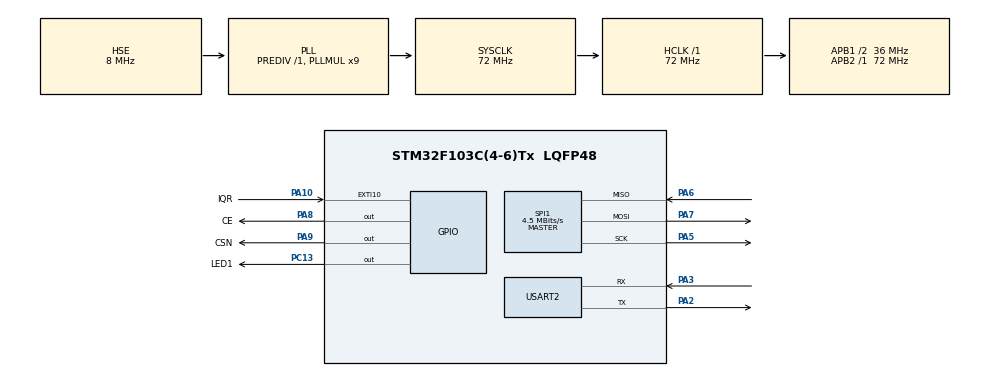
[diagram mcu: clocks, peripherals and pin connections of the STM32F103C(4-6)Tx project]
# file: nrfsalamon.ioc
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Mcu.Family=STM32F1
Mcu.Name=STM32F103C(4-6)Tx
Mcu.Package=LQFP48
NVIC.EXTI15_10_IRQn=true\:0\:0\:false\:true\:true\:1\:true\:true\:true
NVIC.PriorityGroup=NVIC_PRIORITYGROUP_4
PA10.GPIO_Label=IQR
PA10.Signal=GPXTI10
PA2.Mode=Asynchronous
PA2.Signal=USART2_TX
PA3.Mode=Asynchronous
PA3.Signal=USART2_RX
PA5.Mode=Full_Duplex_Master
PA5.Signal=SPI1_SCK
PA6.Mode=Full_Duplex_Master
PA6.Signal=SPI1_MISO
PA7.Mode=Full_Duplex_Master
PA7.Signal=SPI1_MOSI
PA8.GPIO_Label=CE
PA8.Signal=GPIO_Output
PA9.GPIO_Label=CSN
PA9.Signal=GPIO_Output
PC13-TAMPER-RTC.GPIO_Label=LED1
PC13-TAMPER-RTC.Signal=GPIO_Output
PC14-OSC32_IN.Mode=LSE-External-Oscillator
PC14-OSC32_IN.Signal=RCC_OSC32_IN
PC15-OSC32_OUT.Mode=LSE-External-Oscillator
PC15-OSC32_OUT.Signal=RCC_OSC32_OUT
PD0-OSC_IN.Mode=HSE-External-Oscillator
PD0-OSC_IN.Signal=RCC_OSC_IN
PD1-OSC_OUT.Mode=HSE-External-Oscillator
PD1-OSC_OUT.Signal=RCC_OSC_OUT
ProjectManager.HeapSize=0x200
ProjectManager.StackSize=0x400
ProjectManager.TargetToolchain=STM32CubeIDE
RCC.AHBFreq_Value=72000000
RCC.APB1CLKDivider=RCC_HCLK_DIV2
RCC.APB1Freq_Value=36000000
RCC.APB1TimFreq_Value=72000000
RCC.APB2Freq_Value=72000000
RCC.APB2TimFreq_Value=72000000
RCC.HCLKFreq_Value=72000000
RCC.PLLMUL=RCC_PLL_MUL9
RCC.PLLSourceVirtual=RCC_PLLSOURCE_HSE
RCC.SYSCLKFreq_VALUE=72000000
RCC.SYSCLKSource=RCC_SYSCLKSOURCE_PLLCLK
RCC.USBFreq_Value=72000000
SPI1.BaudRatePrescaler=SPI_BAUDRATEPRESCALER_16
SPI1.CalculateBaudRate=4.5 MBits/s
SPI1.Direction=SPI_DIRECTION_2LINES
SPI1.Mode=SPI_MODE_MASTER
SPI1.VirtualType=VM_MASTER
USART2.VirtualMode=VM_ASYNC
board=custom

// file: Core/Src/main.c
/* USER CODE BEGIN Header */
/**
  ******************************************************************************
  * @file           : main.c
  * @brief          : Main program body
  ******************************************************************************
  * @attention
  *
  * Copyright (c) 2023 STMicroelectronics.
  * All rights reserved.
  *
  * This software is licensed under terms that can be found in the LICENSE file
  * in the root directory of this software component.
  * If no LICENSE file comes with this software, it is provided AS-IS.
  *
  ******************************************************************************
  */
/* USER CODE END Header */
#include "main.h"
#include "spi.h"
#include "usart.h"
#include "gpio.h"

/* USER CODE BEGIN Includes */
#include "string.h"
#include "stdio.h"
#include "nRF24_Defs.h"
#include "nRF24.h"
#include "stdio.h"
/* USER CODE END Includes */

/* USER CODE BEGIN PD */
#define MESSAGE_BUFF_LEN 33 // 32 payload + \0
/* USER CODE END PD */

/* USER CODE BEGIN PV */
volatile uint8_t nrf24_rx_flag, nrf24_tx_flag, nrf24_mr_flag;
uint8_t Nrf24_Message[MESSAGE_BUFF_LEN];
uint8_t Message[MESSAGE_BUFF_LEN];
uint8_t MessageLength;
uint32_t Numbers[9] = { 1, 12, 123, 1234, 12345, 123456, 1234567, 12345678, 123456789};
/* USER CODE END PV */

void SystemClock_Config(void);
static void MX_NVIC_Init(void);

int main(void)
{

  /* MCU Configuration--------------------------------------------------------*/

  /* Reset of all peripherals, Initializes the Flash interface and the Systick. */
  HAL_Init();

  /* Configure the system clock */
  SystemClock_Config();

  /* Initialize all configured peripherals */
  MX_GPIO_Init();
  MX_SPI1_Init();
  MX_USART2_UART_Init();

  /* Initialize interrupts */
  MX_NVIC_Init();
  /* USER CODE BEGIN 2 */
  nRF24_Init(&hspi1);
  nRF24_SetRXAddress(0, "Nad");
  nRF24_SetTXAddress("Odb");

  uint8_t i;

  /* USER CODE END 2 */

  /* Infinite loop */
  /* USER CODE BEGIN WHILE */
  while (1)
  {
	  nRF24_TX_Mode();
    /* USER CODE END WHILE */

    /* USER CODE BEGIN 3 */
	  for(i=0; i<9; i++)
	  {
		  MessageLength = sprintf(Message, "%d", Numbers[i] );
		  nRF24_SendPacket(Message, MessageLength);
		  HAL_Delay(1000);
		  HAL_GPIO_TogglePin(LED1_GPIO_Port, LED1_Pin);
	  }

  }
  /* USER CODE END 3 */
}

void SystemClock_Config(void)
{
  RCC_OscInitTypeDef RCC_OscInitStruct = {0};
  RCC_ClkInitTypeDef RCC_ClkInitStruct = {0};

  /** Initializes the RCC Oscillators according to the specified parameters
  * in the RCC_OscInitTypeDef structure.
  */
  RCC_OscInitStruct.OscillatorType = RCC_OSCILLATORTYPE_HSE;
  RCC_OscInitStruct.HSEState = RCC_HSE_ON;
  RCC_OscInitStruct.HSEPredivValue = RCC_HSE_PREDIV_DIV1;
  RCC_OscInitStruct.HSIState = RCC_HSI_ON;
  RCC_OscInitStruct.PLL.PLLState = RCC_PLL_ON;
  RCC_OscInitStruct.PLL.PLLSource = RCC_PLLSOURCE_HSE;
  RCC_OscInitStruct.PLL.PLLMUL = RCC_PLL_MUL9;
  if (HAL_RCC_OscConfig(&RCC_OscInitStruct) != HAL_OK)
  {
    Error_Handler();
  }

  /** Initializes the CPU, AHB and APB buses clocks
  */
  RCC_ClkInitStruct.ClockType = RCC_CLOCKTYPE_HCLK|RCC_CLOCKTYPE_SYSCLK
                              |RCC_CLOCKTYPE_PCLK1|RCC_CLOCKTYPE_PCLK2;
  RCC_ClkInitStruct.SYSCLKSource = RCC_SYSCLKSOURCE_PLLCLK;
  RCC_ClkInitStruct.AHBCLKDivider = RCC_SYSCLK_DIV1;
  RCC_ClkInitStruct.APB1CLKDivider = RCC_HCLK_DIV2;
  RCC_ClkInitStruct.APB2CLKDivider = RCC_HCLK_DIV1;

  if (HAL_RCC_ClockConfig(&RCC_ClkInitStruct, FLASH_LATENCY_2) != HAL_OK)
  {
    Error_Handler();
  }
}

/**
  * @brief NVIC Configuration.
  * @retval None
  */
static void MX_NVIC_Init(void)
{
  /* EXTI15_10_IRQn interrupt configuration */
  HAL_NVIC_SetPriority(EXTI15_10_IRQn, 0, 0);
  HAL_NVIC_EnableIRQ(EXTI15_10_IRQn);
}

void Error_Handler(void)
{
  __disable_irq();
  while (1)
  {
  }
}
